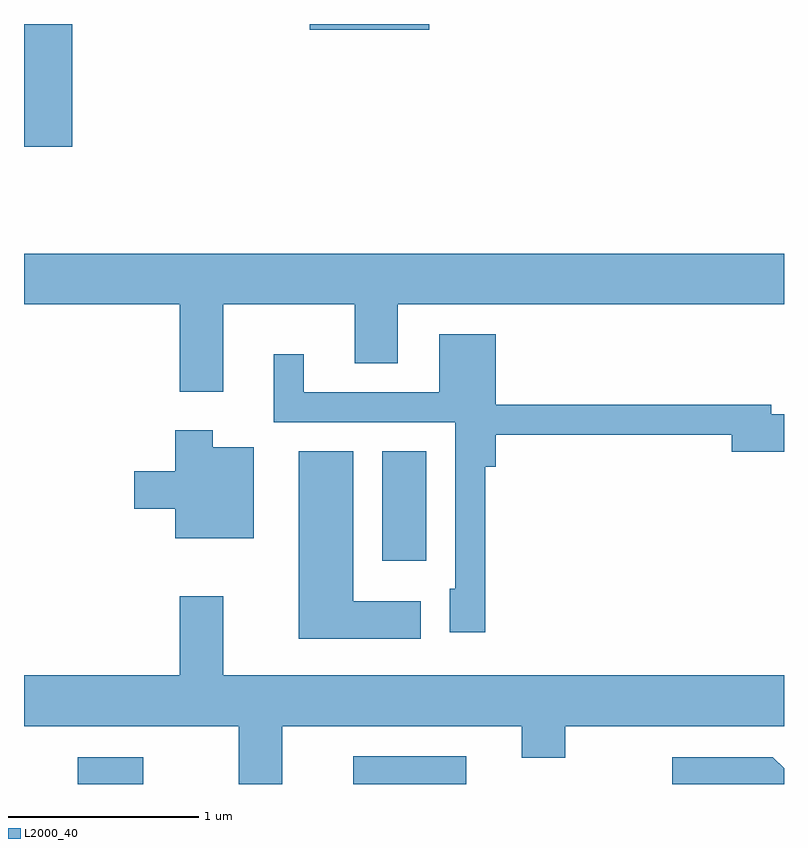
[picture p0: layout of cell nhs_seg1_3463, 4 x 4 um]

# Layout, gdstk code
import gdstk
lib = gdstk.Library(unit=1e-6, precision=1e-09)
def R(c, l, rs):  # rectangles x0, y0, x1, y1
    for r in rs: c.add(gdstk.rectangle(r[:2], r[2:], *l))
def P(c, l, *ps):  # polygons
    for p in ps: c.add(gdstk.Polygon(p, *l))
L2000_40 = (2000, 40)

nhs_seg1_3463 = lib.new_cell('nhs_seg1_3463')
R(nhs_seg1_3463, L2000_40, [(289.893,903.712,290.239,903.854), (291.343,903.712,291.939,903.859), (291.496,904.886,291.729,905.464), (289.611,907.066,289.864,907.712), (291.116,907.681,291.744,907.712)])
P(nhs_seg1_3463, L2000_40, [(290.659,906.236),(291.351,906.236),(291.351,905.926),(291.579,905.926),(291.579,906.236),(293.611,906.236),(293.611,906.504),(289.611,906.504),(289.611,906.236),(290.431,906.236),(290.431,905.776),(290.659,905.776)],
  [(292.039,905.381),(292.094,905.381),(292.094,905.551),(293.336,905.551),(293.336,905.461),(293.611,905.461),(293.611,905.659),(293.544,905.659),(293.544,905.709),(292.094,905.709),(292.094,906.079),(291.796,906.079),(291.796,905.774),(291.084,905.774),(291.084,905.973),(290.926,905.973),(290.926,905.616),(291.881,905.616),(291.881,904.739),(291.851,904.739),(291.851,904.511),(292.039,904.511)],
  [(290.819,905.484),(290.604,905.484),(290.604,905.574),(290.406,905.574),(290.406,905.359),(290.191,905.359),(290.191,905.161),(290.406,905.161),(290.406,905.006),(290.819,905.006)],
  [(291.699,904.674),(291.344,904.674),(291.344,905.464),(291.056,905.464),(291.056,904.476),(291.699,904.476)],
  [(290.969,904.016),(292.231,904.016),(292.231,903.851),(292.459,903.851),(292.459,904.016),(293.611,904.016),(293.611,904.284),(290.659,904.284),(290.659,904.699),(290.431,904.699),(290.431,904.284),(289.611,904.284),(289.611,904.016),(290.741,904.016),(290.741,903.712),(290.969,903.712)],
  [(293.611,903.795),(293.552,903.854),(293.023,903.854),(293.023,903.712),(293.611,903.712)])

lib.write_gds('nhs_seg1_3463.gds')
